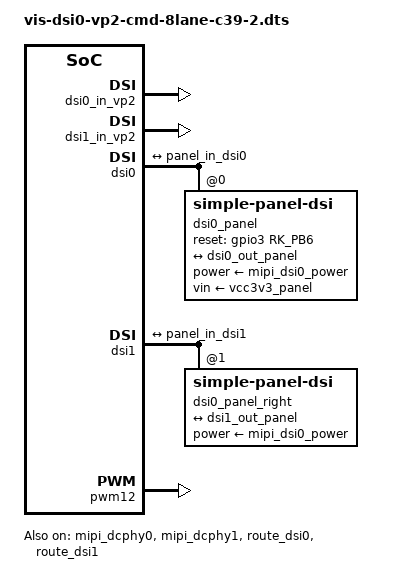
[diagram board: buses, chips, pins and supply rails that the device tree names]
/dts-v1/;
/plugin/;

#include <dt-bindings/gpio/gpio.h>
#include <dt-bindings/pinctrl/rockchip.h>
#include <dt-bindings/display/drm_mipi_dsi.h>
#include <dt-bindings/interrupt-controller/irq.h>

/ {
    fragment@18 {
		target-path = "/";

		__overlay__ {
			// 覆盖GPIO配置
			no_dsc_gpio: no-dsc-gpio {
				nodsc-pin = <&gpio3 RK_PB4 GPIO_ACTIVE_LOW GPIO_PULL_UP>; // 显式启用上拉
			};
		};
    };
    fragment@0 {
        target = <&mipi_dcphy0>;

		__overlay__ {
			status = "okay";
		};
    };

    fragment@10 {
        target = <&mipi_dcphy1>;

		__overlay__ {
			status = "okay";
		};
    };

    /* 2. 显示路由配置 - 双VP输出 */
    fragment@1 {
        target = <&route_dsi0>;

        __overlay__ {
            status = "okay";
            connect = <&vp2_out_dsi0>;  // 左半区绑定VP2
        };
    };

    fragment@11 {
        target = <&route_dsi1>;

        __overlay__ {
            status = "okay";
            connect = <&vp2_out_dsi1>;  // 右半区绑定VP2
        };
    };

    /* 3. VP输入配置 */
    fragment@2 {
        target = <&dsi0_in_vp2>;

		__overlay__ {
			status = "okay";
		};
    };

    fragment@12 {
        target = <&dsi1_in_vp2>;

		__overlay__ {
			status = "okay";
		};
    };

    /* 4. DSI配置 - 双IC级联 */
    fragment@3 {
        target = <&dsi0>;

        __overlay__ {
            status = "okay";
            rockchip,dual-channel = <&dsi1>;
            #address-cells = <1>;
            #size-cells = <0>;

            /* 级联模式专用标志 */
            //rockchip,dual-panel-mode;
            //dsi,cascade-ic = <2>;  // 声明使用两颗驱动IC

            /* 左半区面板配置 */
            dsi0_panel {
                status = "okay";
                compatible = "simple-panel-dsi";
                //connector-type = "dsi";

                dsi,lanes  = <8>;


                /* OLED 亮度通过 DCS 0x51 控制，设备名固定便于用户态使用 */

                dcs-backlight-send-brightness;

                dcs-backlight-name = "oled";
                reg = <0>;  // IC0地址
                //backlight = <&backlight_dsi0>;
				power-supply = <&mipi_dsi0_power>;
                vin-supply = <&vcc3v3_panel>;
                reset-gpios = <&gpio3 RK_PB6 GPIO_ACTIVE_HIGH>;

				enable-delay-ms = <35>;
				prepare-delay-ms = <6>;
				reset-delay-ms = <10>;
				init-delay-ms = <50>;
				unprepare-delay-ms = <0>;
				disable-delay-ms = <20>;

				//DSC 压缩配置下面5行
				//compressed-data;
				//slice-width = <610>;
				//slice-height = <16>;
				//version-major = <1>;
				//version-minor = <1>;
				//以上五行为DSC相关配置

				width-mm = <32>;   // 需根据实际屏幕修改，驱动据此计算像素密度（DPI）
                height-mm = <120>;

				dsi,flags = <(MIPI_DSI_MODE_LPM | MIPI_DSI_MODE_EOT_PACKET)>;
				dsi,format = <MIPI_DSI_FMT_RGB888>;
				/*
				 * 默认不发送 DCS 0x51 亮度命令。
				 * 如需显式开启，请在当前 panel 节点中添加下面这个 DT 布尔属性：
				 *     dcs-backlight-send-brightness;
				 * 示例：
				 *     dcs-backlight-send-brightness;
				 *     dcs-backlight-brightness = <0x1234>;
				 *     dcs-backlight-max-brightness = <0x2234>;
				 *
				 * brightness 使用 16bit，两字节顺序固定为：
				 *     payload[0] = 亮度高字节
				 *     payload[1] = 亮度低字节
				 * 例如 brightness = <0x1234> 时，发出的 payload 为 [12 34]。
				 */
				dcs-backlight-brightness = <0x1234>;
				dcs-backlight-max-brightness = <0x2234>;

                panel-init-sequence = [
					//hisi code F_WRITE_REGS_FOR_HI(0x01004044, 0x1)
					//0A 20 80 11 00 00 A0 30 80 08 C0 04 C4 00 10 02 62 02 62 02 00 02 32 00 20 01 9C 00 08 00 0C 06 67 05 92 18 00 10 E0 07 10 20 00 06 0F 0F 33 0E 1C 2A 38 46 54 62 69 70 77 79 7B 7D 7E 02 02 22 00 2A 40 2A BE 3A FC 3A FA 3A F8 3B 38 3B 78 43 B6 4B B6 4B F6 4B F4 64 34 84 74 00 00 00 00 00 00 00 00 00 00 00 00 00 00 00 00 00 00 00 00 00 00 00 00 00 00 00 00 00 00 00 00 00 00 00 00 00 00 00 00
					29 00 04 ff 01 00 44
                    39 00 05 40 01 00 00 00
					29 00 04 ff 00 00 00
                    05 78 01 11
                    05 18 01 29
                    //0A 20 80 11 00 00 A0 30 80 08 C0 04 C4 00 10 02 62 02 62 02 00 02 32 00 20 01 9C 00 08 00 0C 06 67 05 92 18 00 10 E0 07 10 20 00 06 0F 0F 33 0E 1C 2A 38 46 54 62 69 70 77 79 7B 7D 7E 02 02 22 00 2A 40 2A BE 3A FC 3A FA 3A F8 3B 38 3B 78 43 B6 4B B6 4B F6 4B F4 64 34 84 74 00 00 00 00 00 00 00 00 00 00 00 00 00 00 00 00 00 00 00 00 00 00 00 00 00 00 00 00 00 00 00 00 00 00 00 00 00 00 00 00
					29 00 04 ff 01 00 4c
					39 00 05 00 ff ff ff ff
                    29 00 04 ff 07 00 3C
                    39 00 05 A8 00 00 00 00
                    29 00 04 ff 00 00 00
                    29 00 03 51 12 f7

                ];

				panel-exit-sequence = [
					05 78 01 28
					05 00 01 10
				];

                disp0_timings_left: display-timings {
                    native-mode = <&dsi0_timing_left>;
                    dsi0_timing_left: timing-left {
                        clock-frequency = <125060000>;  // 与右半区保持同步
                        hactive = <816>;    // 物理分辨率
                        vactive = <2240>;
                        hsync-len = <2>;
                        hback-porch = <68>;
                        hfront-porch = <88>;
                        vsync-len = <2>;
                        vback-porch = <35>;
                        vfront-porch = <98>;
                        hsync-active = <0>;
                        vsync-active = <0>;
                        de-active = <0>;
                        pixelclk-active = <0>;
                    };
                };

                ports {
                    #address-cells = <1>;
                    #size-cells = <0>;
                    port@0 {
                        reg = <0>;
                        panel_in_dsi0: endpoint {
                            remote-endpoint = <&dsi0_out_panel>;
                        };
                    };
                };
            };

            ports {
				#address-cells = <1>;
				#size-cells = <0>;
				port@1 {
					reg = <1>;
					dsi0_out_panel: endpoint {
						remote-endpoint = <&panel_in_dsi0>;
					};
				};
			};
        };
    };
  	fragment@13 {
        target = <&dsi1>;

        __overlay__ {
            status = "okay";
            #address-cells = <1>;
            #size-cells = <0>;

            /* 右半区面板配置 */
            dsi0_panel_right: panel-right@1 {
                compatible = "simple-panel-dsi";
                reg = <1>;  // IC1地址
                //backlight = <&backlight_dsi0>;
                power-supply = <&mipi_dsi0_power>;
				/*
				 * 默认不发送 DCS 0x51 亮度命令。
				 * 如需显式开启，请在当前 panel 节点中添加下面这个 DT 布尔属性：
				 *     dcs-backlight-send-brightness;
				 *				 
				 * 示例：
				 *     dcs-backlight-send-brightness;
				 *     dcs-backlight-brightness = <0x1234>;
				 *     dcs-backlight-max-brightness = <0x2234>;
				 *
				 * brightness 使用 16bit，两字节顺序固定为：
				 *     payload[0] = 亮度高字节
				 *     payload[1] = 亮度低字节
				 * 例如 brightness = <0x1234> 时，发出的 payload 为 [12 34]。
				 */
				dcs-backlight-brightness = <0x1234>;
				dcs-backlight-max-brightness = <0x2234>;

                //compressed-data;
				//slice-width = <610>;
				//slice-height = <16>;
				//version-major = <1>;
				//version-minor = <1>;

                /* 右半区初始化序列（需与左半区同步） */
                panel-init-sequence = [
					//0A 20 80 11 00 00 A0 30 80 08 C0 04 C4 00 10 02 62 02 62 02 00 02 32 00 20 01 9C 00 08 00 0C 06 67 05 92 18 00 10 E0 07 10 20 00 06 0F 0F 33 0E 1C 2A 38 46 54 62 69 70 77 79 7B 7D 7E 02 02 22 00 2A 40 2A BE 3A FC 3A FA 3A F8 3B 38 3B 78 43 B6 4B B6 4B F6 4B F4 64 34 84 74 00 00 00 00 00 00 00 00 00 00 00 00 00 00 00 00 00 00 00 00 00 00 00 00 00 00 00 00 00 00 00 00 00 00 00 00 00 00 00 00
					29 00 04 ff 01 00 44
                    39 00 05 40 01 00 00 00
					29 00 04 ff 00 00 00
                    05 78 01 11
                    05 18 01 29                    
                    //0A 20 80 11 00 00 A0 30 80 08 C0 04 C4 00 10 02 62 02 62 02 00 02 32 00 20 01 9C 00 08 00 0C 06 67 05 92 18 00 10 E0 07 10 20 00 06 0F 0F 33 0E 1C 2A 38 46 54 62 69 70 77 79 7B 7D 7E 02 02 22 00 2A 40 2A BE 3A FC 3A FA 3A F8 3B 38 3B 78 43 B6 4B B6 4B F6 4B F4 64 34 84 74 00 00 00 00 00 00 00 00 00 00 00 00 00 00 00 00 00 00 00 00 00 00 00 00 00 00 00 00 00 00 00 00 00 00 00 00 00 00 00 00
					29 00 04 ff 01 00 4c
					39 00 05 00 ff ff ff ff
                    29 00 04 ff 07 00 3C
                    39 00 05 A8 00 00 00 00
                    29 00 04 ff 00 00 00
                    29 00 03 51 12 f7
                ];

				panel-exit-sequence = [
					05 78 01 28
					05 00 01 10
				];

                /* 时序参数与左半区完全一致 */
                disp0_timings_right: display-timings {
                    native-mode = <&dsi0_timing_right>;
                    dsi0_timing_right: timing-right {
                        clock-frequency = <125060000>;
                        hactive = <816>;
                        vactive = <2240>;
                        hsync-len = <2>;
                        hback-porch = <68>;
                        hfront-porch = <88>;
                        vsync-len = <2>;
                        vback-porch = <35>;
                        vfront-porch = <98>;
                        hsync-active = <0>;
                        vsync-active = <0>;
                        de-active = <0>;
                        pixelclk-active = <0>;
                    };
                };

                ports {
                    #address-cells = <1>;
                    #size-cells = <0>;
                    port@0 {
                        reg = <0>;
                        panel_in_dsi1: endpoint {
                            remote-endpoint = <&dsi1_out_panel>;
                        };
                    };
                };
            };

			ports {
				#address-cells = <1>;
				#size-cells = <0>;
				port@1 {
					reg = <1>;
					dsi1_out_panel: endpoint {
						remote-endpoint = <&panel_in_dsi1>;
					};
				};
			};
        };
    };

	fragment@4 {
		target = <&i2c1>;

		__overlay__ {
			status = "disabled";
			#address-cells = <1>;
			#size-cells = <0>;
			pinctrl-names = "default";
			pinctrl-0 = <&i2c1m2_xfer>;

			gt911_dsi0: gt911@5d {
				status = "disabled";
				compatible = "goodix,gt911";
				reg = <0x5d>;
				interrupt-parent = <&gpio1>;
				interrupts = <RK_PB3 IRQ_TYPE_LEVEL_LOW>;
				reset-gpios = <&gpio1 RK_PB4 GPIO_ACTIVE_LOW>;
				irq-gpios = <&gpio1 RK_PB3 GPIO_ACTIVE_HIGH>;
				touchscreen-inverted-x = <1>;
				touchscreen-inverted-y = <1>;
			};
		};
	};

    /* 7. 背光配置 */
    fragment@5 {
        target-path = "/";

        __overlay__ {
            backlight_dsi0: backlight-dsi0 {
                status = "disabled";
                compatible = "pwm-backlight";
                pwms = <&pwm12 0 25000 0>;
				brightness-levels = <
				0  20  20  21  21  22  22  23
				248 249 250 251 252 253 254 255
				>;
                default-brightness-level = <0>;
            };
        };
    };

    /* 8. PWM配置 */
    fragment@6 {
        target = <&pwm12>;

        __overlay__ {
            pinctrl-0 = <&pwm12m1_pins>;
            status = "okay";
        };
    };
};
